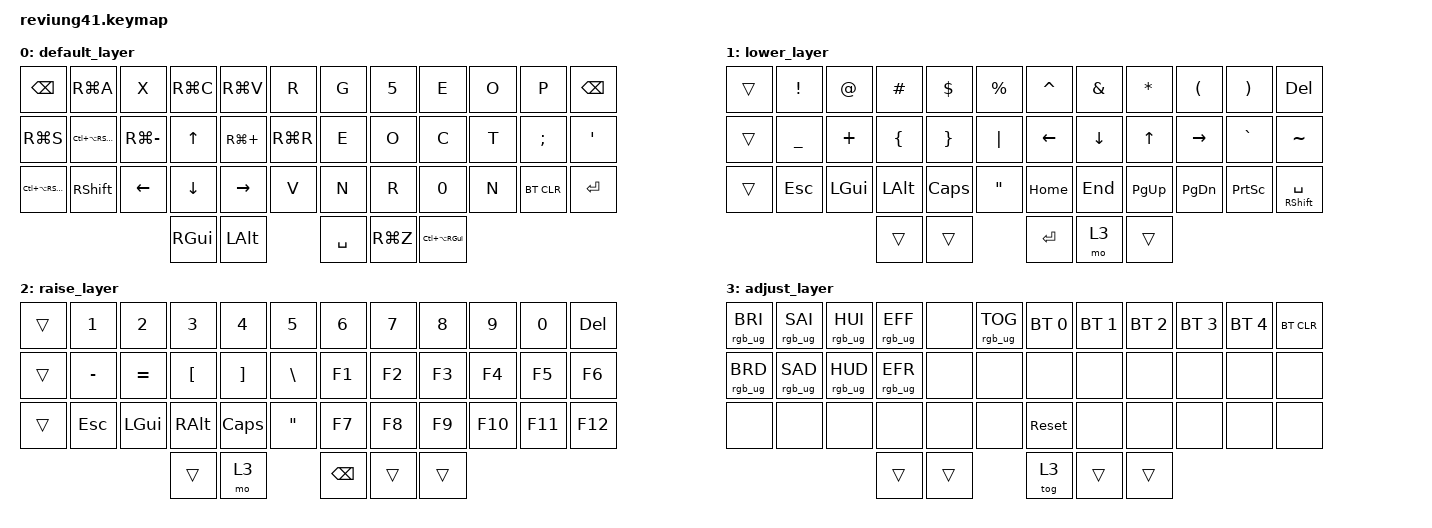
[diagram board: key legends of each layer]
/*
 * Copyright (c) 2020 The ZMK Contributors
 *
 * SPDX-License-Identifier: MIT
 */

#include <behaviors.dtsi>
#include <dt-bindings/zmk/keys.h>
#include <dt-bindings/zmk/bt.h>
#include <dt-bindings/zmk/rgb.h>

/ {
        keymap {
                compatible = "zmk,keymap";

                default_layer {
// -------------------------------------------------------------------------------------
// |  TAB |  Q  |  W  |  UP  |  R  |  T  |   |  Y  |  U   |  I  |  O  |  P  |   BKSP    |
// | CTRL |  A  |  LEFT  |  DOWN  |  RIGHT  |  G  |   |  H  |  J   |  K  |  L  |  ;  |    '      |
// | SHFT |  Z  |  X  |  C  |  V  |  B  |   |  N  |  M   |  ,  |  .  |  /  | SHFT(RET) |
//                         | ALT | LWR | SPC | RSE  | ALT |
                        bindings = <
   &kp BSPC   &kp RG(A) &kp X &kp RG(C) &kp RG(V)  &kp R   &kp G &kp N5  &kp E     &kp O   &kp P    &kp BSPC
   &kp RG(S) &kp LC(LA(RSHFT)) &kp RG(MINUS) &kp UP &kp RG(PLUS) &kp RG(R)   &kp E &kp O  &kp C     &kp T   &kp SEMI &kp SQT
   &kp LC(LA(RSHFT)) &kp RSHFT &kp LEFT &kp DOWN &kp RIGHT &kp V   &kp N &kp R  &kp N0 &kp N &bt BT_CLR &kp ENTER
                        &kp RGUI  &kp LALT &kp SPACE &kp RG(Z)  &kp LC(LA(RGUI))
                        >;
                };

                lower_layer {
// ------------------------------------------------------------------------------------
// |    |  !  |  @  |  #  |  $  |  %  |   |  ^  |  &  |  *  |  (  |  )  |      DEL    |
// |    |  _  |  +  |  {  |  }  | "|" |   | LFT | DWN |  UP | RGT |  `  |       ~     |
// |    | ESC | GUI | ALT | CAPS|  "  |   | HOME| END | PGUP| PGDN| PRSC| SHFT(SPACE) |
//                       |     |     | RET | ADJ |     |
                        bindings = <
   &trans &kp EXCL  &kp AT      &kp HASH &kp DLLR &kp PRCNT      &kp CARET &kp AMPS &kp ASTRK &kp LPAR  &kp RPAR  &kp DEL
   &trans &kp UNDER &kp PLUS    &kp LBRC &kp RBRC &kp PIPE       &kp LEFT  &kp DOWN &kp UP    &kp RIGHT &kp GRAVE &kp TILDE
   &trans &kp ESC   &kp LGUI    &kp LALT &kp CLCK &kp DQT        &kp HOME  &kp END  &kp PG_UP &kp PG_DN &kp PSCRN &mt RSHFT SPACE
                                 &trans      &trans       &kp RET        &mo 3       &trans
                        >;
                };

                raise_layer {
// ----------------------------------------------------------------------------
// |    |  1  |  2  |  3  |  4  |  5  |   |  6  |  7  |  8  |  9  |  0  | DEL |
// |    |  -  |  =  |  [  |  ]  |  \  |   | F1  | F2  | F3  | F4  | F5  | F6  |
// |    | ESC | GUI | ALT | CAPS|  "  |   | F7  | F8  | F9  | F10 | F11 | F12 |
//                       |     | ADJ | BKSP |    |     |
                        bindings = <
   &trans &kp N1    &kp N2    &kp N3    &kp N4    &kp N5        &kp N6    &kp N7    &kp N8    &kp N9    &kp N0    &kp DEL
   &trans &kp MINUS &kp EQUAL &kp LBKT  &kp RBKT  &kp BSLH      &kp F1    &kp F2    &kp F3    &kp F4    &kp F5    &kp F6
   &trans &kp ESC   &kp LGUI  &kp RALT  &kp CLCK  &kp DQT       &kp F7    &kp F8    &kp F9    &kp F10   &kp F11   &kp F12
                                &trans      &mo 3       &kp BSPC        &trans      &trans
                        >;
                };

                adjust_layer {
// -----------------------------------------------------------------------------------------
// | RGB BRI+ | RGB SAT+ | RGB HUE+ | RGB ANI+ |    | RGB TOG |   |  BT1  | BT2 | BT3 | BT4 | BT5 | BT CLR |
// | RGB BRI- | RGB SAT- | RGB HUE- | RGB ANI- |    |         |   |       |     |     |     |     |        |
// |          |          |          |          |    |         |   | RESET |     |     |     |     |        |
//                                              |     |     |     |     |     |
                        bindings = <
   &rgb_ug RGB_BRI &rgb_ug RGB_SAI &rgb_ug RGB_HUI &rgb_ug RGB_EFF &none &rgb_ug RGB_TOG    &bt BT_SEL 0 &bt BT_SEL 1 &bt BT_SEL 2 &bt BT_SEL 3 &bt BT_SEL 4 &bt BT_CLR
   &rgb_ug RGB_BRD &rgb_ug RGB_SAD &rgb_ug RGB_HUD &rgb_ug RGB_EFR &none &none              &none        &none        &none        &none        &none        &none
   &none           &none           &none           &none           &none &none              &sys_reset       &none        &none        &none        &none        &none
                                                             &trans      &trans       &tog 3        &trans      &trans
                        >;
                };
        };
};
